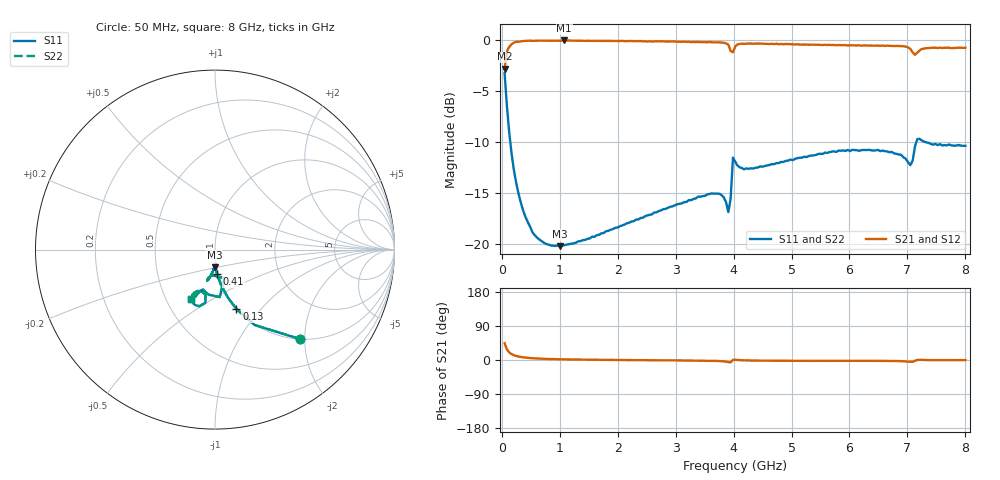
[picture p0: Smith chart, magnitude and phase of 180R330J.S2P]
!  American Technical Ceramics  Date:  3/13/98
!  One Norden Lane
!  Huntington Station,  NY.  11746-2102
!  Tel:  (516) 547-5700  Fax:  (516) 547-5748
!  Part Number  180r330j
!  Description: Porcelain, High Q, Low ESR
!  Application: Bypass, Coupling, Timing, Feedback
!  Tuning, Impedance Match, Blocking
# GHZ S DB R 50
! Freq  |S11|  S11 Ph  |S21|  S21 Ph  |S12|  S12 Ph  |S22|  S22 Ph
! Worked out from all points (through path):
!   201 points, 50 MHz to 8 GHz, reference 50 ohm
!   highest |S21| = -0.03 dB at 1.08 GHz (marker M1); lowest = -2.8 dB at 50 MHz (marker M2)
!   group delay of S21, straight-line fit = 2.91 ps
!   lowest |S11| = -20.2 dB at 1 GHz (marker M3), VSWR 1.22, Z = 48.9 - j9.65 ohm
!   |S11| at or under -10 dB: 148.3 MHz to 7.153 GHz (7.005 GHz wide, 192 % of centre); 7.315 GHz to end of sweep
!   |S22| runs from -20.2 to -3.2 dB; largest |S21 - S12| = 0
!   S11 on the Smith chart (normalised r, x): 50 MHz: 1.00, -1.90; 130 MHz: 0.99, -0.75; 410 MHz: 0.99, -0.27; 8 GHz: 0.67, -0.40
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0.05  -3.24 -46.4  -2.81 44.2  -2.81 44.2  -3.24 -46.4
0.09  -6.48 -62.3  -1.09 27.9  -1.09 27.9  -6.48 -62.3
0.13  -9.07 -70.2  -0.65 20.0  -0.65 20.0  -9.07 -70.2
0.25  -14.00 -80.1  -0.16 10.5  -0.16 10.5  -14.00 -80.1
0.41  -17.32 -85.1  -0.07 6.4  -0.07 6.4  -17.32 -85.1
0.61  -19.36 -87.9  -0.06 3.8  -0.06 3.8  -19.36 -87.9
1  -20.19 -91.2  -0.06 2.0  -0.06 2.0  -20.19 -91.2
1.08  -20.09 -91.7  -0.03 1.7  -0.03 1.7  -20.09 -91.7
1.4  -19.60 -92.8  -0.06 1.0  -0.06 1.0  -19.60 -92.8
2.71  -16.75 -99.0  -0.12 -1.1  -0.12 -1.1  -16.75 -99.0
3.63  -15.02 -103.9  -0.22 -2.1  -0.22 -2.1  -15.02 -103.9
3.83  -15.40 -104.1  -0.25 -3.5  -0.25 -3.5  -15.40 -104.1
3.91  -16.85 -96.5  -0.43 -5.6  -0.43 -5.6  -16.85 -96.5
3.95  -15.52 -71.9  -1.08 -6.3  -1.08 -6.3  -15.52 -71.9
3.99  -11.50 -84.4  -1.18 0.4  -1.18 0.4  -11.50 -84.4
4.03  -11.91 -97.8  -0.61 1.0  -0.61 1.0  -11.91 -97.8
5.38  -11.30 -113.0  -0.44 -2.3  -0.44 -2.3  -11.30 -113.0
6.69  -10.99 -116.3  -0.55 -2.4  -0.55 -2.4  -10.99 -116.3
7.05  -12.25 -108.4  -0.86 -4.8  -0.86 -4.8  -12.25 -108.4
7.13  -10.42 -100.2  -1.43 -2.1  -1.43 -2.1  -10.42 -100.2
7.24  -9.80 -111.6  -0.88 0.3  -0.88 0.3  -9.80 -111.6
8  -10.36 -116.1  -0.75 -0.3  -0.75 -0.3  -10.36 -116.1
